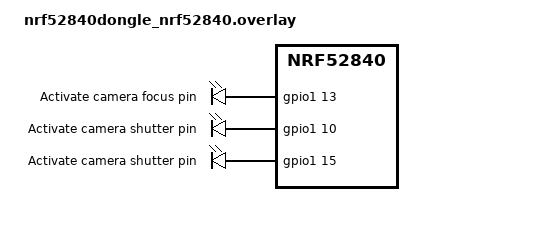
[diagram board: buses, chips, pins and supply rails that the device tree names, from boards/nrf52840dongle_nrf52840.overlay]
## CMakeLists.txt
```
#
# Copyright (c) 2018 Nordic Semiconductor
#
# SPDX-License-Identifier: LicenseRef-Nordic-5-Clause
#
cmake_minimum_required(VERSION 3.20.0)

set(PM_STATIC_YML_FILE
  ${CMAKE_CURRENT_SOURCE_DIR}/boards/pm_static_${BOARD}.yml
  )

find_package(Zephyr REQUIRED HINTS $ENV{ZEPHYR_BASE})
project(NONE)

target_include_directories(app PRIVATE include)

# NORDIC SDK APP START
target_sources(app PRIVATE
  src/main.c
  src/cam_tl_control.c
  src/flash_handler.c
)

# NORDIC SDK APP END
zephyr_library_include_directories(.)
```

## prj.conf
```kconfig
#
# Copyright (c) 2018 Nordic Semiconductor
#
# SPDX-License-Identifier: LicenseRef-Nordic-5-Clause
#
CONFIG_NCS_SAMPLES_DEFAULTS=y

CONFIG_LOG=y
CONFIG_SERIAL=y

CONFIG_BT=y
CONFIG_BT_PERIPHERAL=y
CONFIG_BT_DEVICE_NAME="CAM TL Control v3"

# Enable the LBS service
CONFIG_BT_NUS=y
CONFIG_BT_USER_DATA_LEN_UPDATE=y
CONFIG_BT_L2CAP_TX_MTU=247
CONFIG_BT_BUF_ACL_RX_SIZE=251
CONFIG_BT_GATT_CLIENT=y
CONFIG_BT_ATT_PREPARE_COUNT=2
CONFIG_BT_CONN_TX_MAX=10
CONFIG_BT_L2CAP_TX_BUF_COUNT=10
CONFIG_BT_L2CAP_TX_MTU=247
CONFIG_BT_L2CAP_DYNAMIC_CHANNEL=y
CONFIG_BT_CTLR_PHY_2M=y
CONFIG_BT_CTLR_RX_BUFFERS=2
CONFIG_BT_BUF_ACL_TX_COUNT=10
CONFIG_BT_BUF_ACL_TX_SIZE=251
CONFIG_BT_CTLR_DATA_LENGTH_MAX=251
CONFIG_DK_LIBRARY=y

CONFIG_SYSTEM_WORKQUEUE_STACK_SIZE=2048

CONFIG_NVS=y
CONFIG_SETTINGS=y
CONFIG_SETTINGS_NVS=y

CONFIG_NEWLIB_LIBC=y
CONFIG_POSIX_CLOCK=y

CONFIG_MAIN_STACK_SIZE=4096
CONFIG_IDLE_STACK_SIZE=4096

CONFIG_FLASH=y
CONFIG_FLASH_MAP=y
CONFIG_FLASH_PAGE_LAYOUT=y

CONFIG_MPU_ALLOW_FLASH_WRITE=y
```

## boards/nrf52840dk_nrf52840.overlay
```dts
/{
	cam_interface {
		compatible = "gpio-leds";
		pin_focus: pin_focus {
			gpios = <&gpio1 1 (GPIO_OPEN_DRAIN | (1 << 8))>;
			label = "Activate camera focus pin";
		};
		pin_shutter: pin_shutter {
			gpios = <&gpio1 2 (GPIO_OPEN_DRAIN | (1 << 8))>;
			label = "Activate camera shutter pin";
		};
	};
};
```

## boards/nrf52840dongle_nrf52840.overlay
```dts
/{
	cam_interface {
		compatible = "gpio-leds";
		pin_focus: pin_focus {
			gpios = <&gpio1 13 (GPIO_OPEN_DRAIN | (1 << 8))>;
			label = "Activate camera focus pin";
		};
		pin_shutter: pin_shutter {
			gpios = <&gpio1 10 (GPIO_OPEN_DRAIN | (1 << 8))>;
			label = "Activate camera shutter pin";
		};
		pin_ground: pin_ground {
			gpios = <&gpio1 15 0>;
			label = "Activate camera shutter pin";			
		};
	};
};
&pwm0_default {
	group1 {
		psels = <NRF_PSEL(PWM_OUT0, 0, 8)>,
		  <NRF_PSEL(PWM_OUT1, 1, 9)>,
		  <NRF_PSEL(PWM_OUT2, 0, 12)>;
	};
};
```

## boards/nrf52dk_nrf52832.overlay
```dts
/{
	cam_interface {
		compatible = "gpio-leds";
		pin_focus: pin_focus {
			gpios = <&gpio0 24 (GPIO_OPEN_DRAIN | (1 << 8))>;
			label = "Activate camera focus pin";
		};
		pin_shutter: pin_shutter {
			gpios = <&gpio0 25 (GPIO_OPEN_DRAIN | (1 << 8))>;
			label = "Activate camera shutter pin";
		};
	};
};
```

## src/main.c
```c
/*
 * Copyright (c) 2018 Nordic Semiconductor ASA
 *
 * SPDX-License-Identifier: LicenseRef-Nordic-5-Clause
 */

#include <zephyr/types.h>
#include <stddef.h>
#include <string.h>
#include <errno.h>
#include <zephyr/sys/printk.h>
#include <zephyr/sys/byteorder.h>
#include <zephyr/kernel.h>
#include <zephyr/drivers/gpio.h>
#include <soc.h>
#include <time.h>
#include <stdio.h>
/* clock_gettime() prototype */
#include <zephyr/posix/time.h>

#include <zephyr/bluetooth/bluetooth.h>
#include <zephyr/bluetooth/hci.h>
#include <zephyr/bluetooth/conn.h>
#include <zephyr/bluetooth/uuid.h>
#include <zephyr/bluetooth/gatt.h>

#include <bluetooth/services/nus.h>

#include <zephyr/settings/settings.h>

#include <dk_buttons_and_leds.h>

#include "cam_tl_control.h"
#include "app_settings.h"
#include "flash_handler.h"

#define DEVICE_NAME             CONFIG_BT_DEVICE_NAME
#define DEVICE_NAME_LEN         (sizeof(DEVICE_NAME) - 1)


#define RUN_STATUS_LED          DK_LED1
#define CON_STATUS_LED          DK_LED2
#define RUN_LED_BLINK_INTERVAL  500

#define USER_LED                DK_LED3

#define USER_BUTTON             DK_BTN1_MSK
#define BLE_ENABLE_BUTTON       DK_BTN2_MSK

#define UART_BUF_SIZE CONFIG_BT_NUS_UART_BUFFER_SIZE

// Until the kit is configured through the app, run at a constant interval (since accurate time is not set)
static bool m_time_set_from_app = false;
static app_settings_t app_settings = {.picture_interval_s = 10*60,
									  .downtime_pic_int_s = 0,
									  .pic_cap_start_hour = 8,
									  .pic_cap_start_min = 0,
									  .pic_cap_end_hour = 17,
									  .pic_cap_end_min = 59,
									  .wday_on_map = {true, true, true, true, true, true, true}};
static bool m_nus_notifications_enabled = false;
static bool m_settings_changed = false;

static int m_pics_taken_since_reset = 0;
static int m_pics_taken_since_last_ble_command = 0;

static struct bt_gatt_exchange_params exchange_params;

static const struct bt_data ad[] = {
	BT_DATA_BYTES(BT_DATA_FLAGS, (BT_LE_AD_GENERAL | BT_LE_AD_NO_BREDR)),
	BT_DATA(BT_DATA_NAME_COMPLETE, DEVICE_NAME, DEVICE_NAME_LEN),
};

static const struct bt_data sd[] = {
	BT_DATA_BYTES(BT_DATA_UUID128_ALL, BT_UUID_NUS_VAL),
};

struct bt_conn *m_conn = 0;

static void app_bt_start_advertising(bool enable) 
{
	int err;
	if(enable) {
		err = bt_le_adv_start(BT_LE_ADV_CONN, ad, ARRAY_SIZE(ad),
					sd, ARRAY_SIZE(sd));
		if (err) {
			printk("Advertising failed to start (err %d)\n", err);
			return;
		}
	} else {
		err = bt_le_adv_stop();
	}
}

static void exchange_func(struct bt_conn *conn, uint8_t att_err,
			  struct bt_gatt_exchange_params *params)
{
	struct bt_conn_info info = {0};
	int err;

	printk("MTU exchange %s\n", att_err == 0 ? "successful" : "failed");

	err = bt_conn_get_info(conn, &info);
	if (err) {
		printk("Failed to get connection info %d\n", err);
		return;
	}
}


static void connected(struct bt_conn *conn, uint8_t err)
{
	if (err) {
		printk("Connection failed (err %u)\n", err);
		return;
	}

	printk("Connected\n");

	dk_set_led_on(CON_STATUS_LED);

	exchange_params.func = exchange_func;

	err = bt_gatt_exchange_mtu(conn, &exchange_params);
	if (err) {
		printk("MTU exchange failed (err %d)\n", err);
	} else {
		printk("MTU exchange pending\n");
	}
	
	m_conn = conn;
}

static void disconnected(struct bt_conn *conn, uint8_t reason)
{
	printk("Disconnected (reason %u)\n", reason);

	dk_set_led_off(CON_STATUS_LED);

	m_nus_notifications_enabled = false;
}

#ifdef CONFIG_BT_LBS_SECURITY_ENABLED
static void security_changed(struct bt_conn *conn, bt_security_t level,
			     enum bt_security_err err)
{
	char addr[BT_ADDR_LE_STR_LEN];

	bt_addr_le_to_str(bt_conn_get_dst(conn), addr, sizeof(addr));

	if (!err) {
		printk("Security changed: %s level %u\n", addr, level);
	} else {
		printk("Security failed: %s level %u err %d\n", addr, level,
			err);
	}
}
#endif

static struct bt_conn_cb conn_callbacks = {
	.connected        = connected,
	.disconnected     = disconnected,
#ifdef CONFIG_BT_LBS_SECURITY_ENABLED
	.security_changed = security_changed,
#endif
};

#if defined(CONFIG_BT_LBS_SECURITY_ENABLED)
static void auth_passkey_display(struct bt_conn *conn, unsigned int passkey)
{
	char addr[BT_ADDR_LE_STR_LEN];

	bt_addr_le_to_str(bt_conn_get_dst(conn), addr, sizeof(addr));

	printk("Passkey for %s: %06u\n", addr, passkey);
}

static void auth_cancel(struct bt_conn *conn)
{
	char addr[BT_ADDR_LE_STR_LEN];

	bt_addr_le_to_str(bt_conn_get_dst(conn), addr, sizeof(addr));

	printk("Pairing cancelled: %s\n", addr);
}

static struct bt_conn_auth_cb conn_auth_callbacks = {
	.passkey_display = auth_passkey_display,
	.cancel = auth_cancel,
};
#else
static struct bt_conn_auth_cb conn_auth_callbacks;
#endif

static volatile bool take_picture_override = false;
static volatile bool ble_enabled = true;
static void button_changed(uint32_t button_state, uint32_t has_changed)
{
	if (has_changed & USER_BUTTON) {
		uint32_t user_button_state = button_state & USER_BUTTON;

		if(user_button_state) take_picture_override = true;
	}
	if ((has_changed & BLE_ENABLE_BUTTON) && (button_state & BLE_ENABLE_BUTTON)) {
		ble_enabled = !ble_enabled;
		if(ble_enabled) {
			printk("BLE Enabled\n");
		} else {
			printk("BLE Disabled\n");
		}
	}
}

static int init_button(void)
{
	int err;

	err = dk_buttons_init(button_changed);
	if (err) {
		printk("Cannot init buttons (err: %d)\n", err);
	}

	return err;
}
static int convert_ascii_int(const uint8_t *str_ptr, int num_digits)
{
	int ret_val = 0;
	int multiplier = 1;
	for(int i = 0; i < (num_digits - 1); i++) multiplier *= 10;
	for(int i = 0; i < num_digits; i++) {
		if(str_ptr[i] >= '0' && str_ptr[i] <= '9'){
			ret_val += ((str_ptr[i] - '0') * multiplier);
			multiplier /= 10;
		}
		else return 0;
	}
	return ret_val;
}

static int send_nus_response_str(char *response)
{
	if(m_nus_notifications_enabled && strlen(response) > 0) {
		bt_nus_send(m_conn, response, strlen(response));
		return 0;
	}
	return -1;
}

static volatile bool time_update_requested = false;
static volatile bool take_picture_requested = false;

typedef struct {
	uint8_t buf[24];
	uint32_t len;
} uart_message_t;
K_MSGQ_DEFINE(nus_msg_queue, sizeof(uart_message_t), 8, 4);

void on_nus_received(struct bt_conn *conn, const uint8_t *const data, uint16_t len)
{
	static uart_message_t new_message;
	if(len > 23) len = 23;
	memcpy(new_message.buf, data, len);
	new_message.buf[len] = 0;
	new_message.len = len;
	k_msgq_put(&nus_msg_queue, &new_message, K_NO_WAIT);
}

#define CHECK_CAM_CMD(a, b) (strncmp(a, msg->buf, 2) == 0 && msg->len == b)

static void process_nus_packet(uart_message_t *msg)
{
	struct tm set_time;
	static char response_msg[128];
	//printk("NUS CMD received (len %i): %s\n", len, response_msg);
	if(msg->len >= 2){
		// Set time command
		if(CHECK_CAM_CMD("st", 14)){
			set_time.tm_year = convert_ascii_int(msg->buf + 2, 2) + 100;
			set_time.tm_mon = convert_ascii_int(msg->buf + 4, 2);
			set_time.tm_mday = convert_ascii_int(msg->buf + 6, 2);
			set_time.tm_hour = convert_ascii_int(msg->buf + 8, 2);
			set_time.tm_min = convert_ascii_int(msg->buf + 10, 2);
			set_time.tm_sec = convert_ascii_int(msg->buf + 12, 2);
			time_t t = mktime(&set_time);
			struct timespec ts;
			ts.tv_sec = t;
			ts.tv_nsec = 0;
			clock_settime(CLOCK_REALTIME, &ts);
			m_time_set_from_app = true;
			sprintf(response_msg, "Time set over NUS: %s", asctime(&set_time));
		}
		// Set capture interval command
		else if(CHECK_CAM_CMD("si", 6)){
			app_settings.picture_interval_s = convert_ascii_int(msg->buf + 2, 4);
			if(app_settings.picture_interval_s < 30) app_settings.picture_interval_s = 30;
			sprintf(response_msg, "Picture interval set to %i", app_settings.picture_interval_s);
			m_settings_changed = true;
		}
		// Set downtime capture interval command
		else if(CHECK_CAM_CMD("di", 6)){
			app_settings.downtime_pic_int_s = convert_ascii_int(msg->buf + 2, 4);
			if(app_settings.downtime_pic_int_s < 30) app_settings.downtime_pic_int_s = 0;
			sprintf(response_msg, "Picture DT int set to %i", app_settings.downtime_pic_int_s);
			m_settings_changed = true;
		}
		// Set capture start time command
		else if(CHECK_CAM_CMD("cs", 6)){
			app_settings.pic_cap_start_hour = convert_ascii_int(msg->buf + 2, 2);
			app_settings.pic_cap_start_min = convert_ascii_int(msg->buf + 4, 2);
			sprintf(response_msg, "Picture start time at %i:%02i", app_settings.pic_cap_start_hour, app_settings.pic_cap_start_min);
			m_settings_changed = true;
		}
		// Set capture end time command
		else if(CHECK_CAM_CMD("ce", 6)){
			app_settings.pic_cap_end_hour = convert_ascii_int(msg->buf + 2, 2);
			app_settings.pic_cap_end_min = convert_ascii_int(msg->buf + 4, 2);
			sprintf(response_msg, "Picture end time at %i:%02i", app_settings.pic_cap_end_hour, app_settings.pic_cap_end_min);
			m_settings_changed = true;
		}
		// Set weekday map command
		else if(CHECK_CAM_CMD("wm", 9)){
			// time.h defines Sunday as the first day of the week. 
			// Change this around to make Monday the first day of the week in the config command 
			app_settings.wday_on_map[0] = (convert_ascii_int(msg->buf + 8, 1) != 0);
			for(int i = 0; i < 6; i++) {
				app_settings.wday_on_map[i + 1] = (convert_ascii_int(msg->buf + 2 + i, 1) != 0);
			}
			sprintf(response_msg, "Weekday map: %i-%i-%i-%i-%i-%i-%i", app_settings.wday_on_map[1], app_settings.wday_on_map[2], 
					app_settings.wday_on_map[3], app_settings.wday_on_map[4], app_settings.wday_on_map[5], 
					app_settings.wday_on_map[6], app_settings.wday_on_map[0]);
			m_settings_changed = true;
		}
		// Get current time command
		else if(CHECK_CAM_CMD("gt", 2)){
			static time_t t;
			static struct tm *ptr;
			
			// Check current time 
			t = time(NULL);
			ptr = localtime(&t);
			sprintf(response_msg, "Current time: %s", asctime(ptr));
		}
		// Get status command
		else if(CHECK_CAM_CMD("gs", 2)){
			sprintf(response_msg, "Picture start time at %i:%02i", app_settings.pic_cap_start_hour, app_settings.pic_cap_start_min);
			send_nus_response_str(response_msg);
			sprintf(response_msg, "Picture end time at %i:%02i", app_settings.pic_cap_end_hour, app_settings.pic_cap_end_min);
			send_nus_response_str(response_msg);
			sprintf(response_msg, "Picture interval: %i", app_settings.picture_interval_s);
			send_nus_response_str(response_msg);
			sprintf(response_msg, "Picture DT int: %i", app_settings.downtime_pic_int_s);
			send_nus_response_str(response_msg);
			sprintf(response_msg, "Weekday map: %i-%i-%i-%i-%i-%i-%i", app_settings.wday_on_map[1], app_settings.wday_on_map[2], app_settings.wday_on_map[3], 
						app_settings.wday_on_map[4], app_settings.wday_on_map[5], app_settings.wday_on_map[6], app_settings.wday_on_map[0]);
			send_nus_response_str(response_msg);
			sprintf(response_msg, "Pics since reset: %i, pics since BLE activity: %i", m_pics_taken_since_reset, m_pics_taken_since_last_ble_command);
			send_nus_response_str(response_msg);
			response_msg[0] = 0;
		}
		else if(CHECK_CAM_CMD("tp", 2)){
			take_picture_requested = true;
			sprintf(response_msg, "Picture request received");
		}
		else sprintf(response_msg, "Unknown NUS command received!");
	}
	printk("%s\n", response_msg);
	send_nus_response_str(response_msg);
	m_pics_taken_since_last_ble_command = 0;
}

void on_nus_sent(struct bt_conn *conn)
{

}

void on_nus_send_enabled(enum bt_nus_send_status status)
{
	if(status == BT_NUS_SEND_STATUS_ENABLED) m_nus_notifications_enabled = true;
	else m_nus_notifications_enabled = false;
}

struct bt_nus_cb nus_callbacks = {.received = on_nus_received, .sent = on_nus_sent, .send_enabled = on_nus_send_enabled};

static void time_debug(void)
{
	static bool first_time = true;
	static struct tm* ptr;
	struct tm start_time;
    static time_t t;
	static time_t time_at_last_pic = 0;
	struct timespec ts;

	if(first_time) {
		first_time = false;
		start_time.tm_year = 122;
		start_time.tm_mon = 0;
		start_time.tm_mday = 24;
		start_time.tm_hour = 8;
		start_time.tm_min = 12;
		start_time.tm_sec = 12;
		t = mktime(&start_time);
		ts.tv_sec = t;
		ts.tv_nsec = 0;
		clock_settime(CLOCK_REALTIME, &ts);
		printk("Time set to: %s", asctime(&start_time));
	}

	// Check current time 
	t = time(NULL);
    ptr = localtime(&t);

	// Check if this is within the active picture period
	int second_in_day_offset;
	int interval;
	int time_start_minutes = app_settings.pic_cap_start_hour * 60 + app_settings.pic_cap_start_min;
	int time_end_minutes = app_settings.pic_cap_end_hour * 60 + app_settings.pic_cap_end_min;
	int current_time_minutes = ptr->tm_hour * 60 + ptr->tm_min; 
	// If no BLE configuration occurred since reset, use a 30 second interval
	if(!m_time_set_from_app) {
		interval = 30;
	} else {
		// First check if we are within the active period
		if(current_time_minutes >= time_start_minutes && current_time_minutes <= time_end_minutes && app_settings.wday_on_map[ptr->tm_wday]) {
			interval = app_settings.picture_interval_s;
		// If we are not within the active period and the downtime interval is 0, no pictures will be taken
		} else if(app_settings.downtime_pic_int_s == 0) {
			return;
		// Otherwise use the downtime interval
		} else {
			interval = app_settings.downtime_pic_int_s;
		}
		// In order to make picture capture happen on natural time boundaries, use the modulo operator
		second_in_day_offset = ptr->tm_hour * 3600 + ptr->tm_min * 60 + ptr->tm_sec;
		if((second_in_day_offset % interval) == 0) {
			time_at_last_pic = t;
			printk("Taking picture at time %s\n", asctime(ptr));
			cam_tl_control_take_picture();
			m_pics_taken_since_reset++;
			m_pics_taken_since_last_ble_command++;
		}
	}
}

static bool bt_is_enabled = false;
void bt_ready(int error)
{
	if (error == 0) bt_is_enabled = true;
}

void main(void)
{
	int err;

	printk("Starting Camera timelapse control example\n");

	cam_tl_control_init();

	err = dk_leds_init();
	if (err) {
		printk("LEDs init failed (err %d)\n", err);
		return;
	}

	err = init_button();
	if (err) {
		printk("Button init failed (err %d)\n", err);
		return;
	}

	bt_conn_cb_register(&conn_callbacks);
	if (IS_ENABLED(CONFIG_BT_LBS_SECURITY_ENABLED)) {
		bt_conn_auth_cb_register(&conn_auth_callbacks);
	}

	err = flash_handler_init();
	if (err) {
		printk("Error initializing flash\n");
	}

	err = flash_handler_read(&app_settings);
	if (err) {
		printk("No settings found in flash. Using default values\n");
	}
	else {
		printk("Settings loaded from flash!");
	}

	err = flash_handler_write(&app_settings);
	if (err) {
		printk("ERROR writing flash\n");
	}

	err = bt_enable(NULL);
	if (err) {
		printk("Bluetooth init failed (err %d)\n", err);
		return;
	}

	if (IS_ENABLED(CONFIG_SETTINGS)) {
		settings_load();
	}

	printk("Bluetooth initialized\n");

	err = bt_nus_init(&nus_callbacks);
	if (err) {
		printk("Failed to init NUS (err:%d)\n", err);
		return;
	}

	app_bt_start_advertising(true);

	printk("Advertising successfully started\n");
	static char printbuf[128];
	static time_t t;
	static struct tm *ptr;
	uint32_t time_debug_counter = 0;
	for (;;) {
		dk_set_led(RUN_STATUS_LED, 1);
		k_msleep(10);
		dk_set_led(RUN_STATUS_LED, 0);
		k_sleep(K_MSEC(RUN_LED_BLINK_INTERVAL - 10));

		// If the user button is pressed, take a picture
		if(take_picture_requested) {
			take_picture_requested = false;
			printk("Triggering picture manually\n");
			cam_tl_control_take_picture();
			m_pics_taken_since_reset++;
			m_pics_taken_since_last_ble_command++;
		}

		if(time_update_requested) {
			time_update_requested = false;
	
			// Check current time 
			t = time(NULL);
			ptr = localtime(&t);
			sprintf(printbuf, "Current time: %s", asctime(ptr));
			printk("Current time requested: %s\n", asctime(ptr));
			send_nus_response_str(printbuf);
		}

		if(m_settings_changed) {
			m_settings_changed = false;
			app_settings.last_updated_time = time(NULL);
			err = flash_handler_write(&app_settings);
			if (err) {
				printk("Flash write error (err %i)\n", err);
			}
		}

		if(time_debug_counter > 1000) {
			time_debug();
			time_debug_counter -= 1000;
		}
		time_debug_counter += RUN_LED_BLINK_INTERVAL;
		
		static uart_message_t new_msg;
		if(k_msgq_get(&nus_msg_queue, &new_msg, K_NO_WAIT) == 0) {
			process_nus_packet(&new_msg);
		}
	}
}
```

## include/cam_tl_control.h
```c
#ifndef __CAM_TL_CONTROL_H
#define __CAM_TL_CONTROL_H

#include <zephyr/kernel.h>
#include <zephyr/types.h>

typedef struct {
} cam_tl_control_config_t;

int cam_tl_control_init(void);

void cam_tl_control_take_picture(void);

#endif
```

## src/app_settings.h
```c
#ifndef __APP_SETTINGS_H
#define __APP_SETTINGS_H

#include <zephyr/kernel.h>
#include <time.h>

typedef struct {
    int picture_interval_s;
    int downtime_pic_int_s;
    int pic_cap_start_hour;
    int pic_cap_start_min;
    int pic_cap_end_hour;
    int pic_cap_end_min;
    bool wday_on_map[7];
    time_t last_updated_time;
    // Magic number for the flash library
    uint32_t _magic_number;
} app_settings_t;

#endif
```

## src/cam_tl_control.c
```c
#include "cam_tl_control.h"
#include "nrf.h"
#include <zephyr/drivers/gpio.h>

#define TIME_FOCUS_MS 700
#define TIME_SHUTTER_MS 100

struct gpio_dt_spec pin_focus = GPIO_DT_SPEC_GET(DT_NODELABEL(pin_focus), gpios);
struct gpio_dt_spec pin_shutter = GPIO_DT_SPEC_GET(DT_NODELABEL(pin_shutter), gpios);
#if (DT_NODE_EXISTS(DT_NODELABEL(pin_ground)))
struct gpio_dt_spec pin_ground = GPIO_DT_SPEC_GET(DT_NODELABEL(pin_ground), gpios);
#endif

int cam_tl_control_init()
{
	int ret;

	if(!device_is_ready(pin_focus.port)) {
		return -ENXIO;
	}

	if(!device_is_ready(pin_shutter.port)) {
		return -ENXIO;
	}

	ret = gpio_pin_configure_dt(&pin_focus, GPIO_OUTPUT);
	if (ret) {
		return ret;
	}

	ret = gpio_pin_configure_dt(&pin_shutter, GPIO_OUTPUT);
	if (ret) {
		return ret;
	}

	gpio_pin_set_dt(&pin_focus, 1);
	gpio_pin_set_dt(&pin_shutter, 1);

#if (DT_NODE_EXISTS(DT_NODELABEL(pin_ground)))
	ret = gpio_pin_configure_dt(&pin_ground, GPIO_OUTPUT);
	if (ret) {
		return ret;
	}
	gpio_pin_set_dt(&pin_ground, 0);
#endif

	return 0;
}

void cam_tl_control_take_picture(void)
{
	gpio_pin_set_dt(&pin_focus, 0);
	k_msleep(TIME_FOCUS_MS);
	gpio_pin_set_dt(&pin_shutter, 0);
	k_msleep(TIME_SHUTTER_MS);
	gpio_pin_set_dt(&pin_focus, 1);
	gpio_pin_set_dt(&pin_shutter, 1);
}
```

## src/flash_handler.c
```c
#include "flash_handler.h"

#include <stdio.h>

#include <zephyr/device.h>
//#include <zephyr/fs/fs.h>
//#include <zephyr/logging/log.h>
#include <zephyr/fs/nvs.h>
#include <zephyr/drivers/flash.h>
#include <zephyr/storage/flash_map.h>
#include <zephyr/settings/settings.h>

//LOG_MODULE_REGISTER(flash_handler);

#define NVS_PARTITION		storage_partition
#define NVS_PARTITION_DEVICE	FIXED_PARTITION_DEVICE(NVS_PARTITION)
#define NVS_PARTITION_OFFSET	FIXED_PARTITION_OFFSET(NVS_PARTITION)

static struct nvs_fs nvs_fs;

int flash_handler_init(void)
{
	int err;
	struct flash_pages_info info;

	/* define the nvs file system by settings with:
	 *	sector_size equal to the pagesize,
	 *	3 sectors
	 *	starting at NVS_PARTITION_OFFSET
	 */
	nvs_fs.flash_device = NVS_PARTITION_DEVICE;
	if (!device_is_ready(nvs_fs.flash_device)) {
		printk("Flash device %s is not ready\n", nvs_fs.flash_device->name);
		return -ENFILE;
	}
	nvs_fs.offset = NVS_PARTITION_OFFSET;
	err = flash_get_page_info_by_offs(nvs_fs.flash_device, nvs_fs.offset, &info);
	if (err) {
		printk("Unable to get page info\n");
		return -ENFILE;
	}
	nvs_fs.sector_size = info.size;
	nvs_fs.sector_count = 3U;

    err = nvs_mount(&nvs_fs);
	if (err) {
		printk("Flash Init failed\n");
		return -ENFILE;
	}

    return 0;
}

int flash_handler_read(app_settings_t *settings)
{
    static app_settings_t local_settings;

    ssize_t read_size = nvs_read(&nvs_fs, 26, &local_settings, sizeof(app_settings_t));
    if (read_size != sizeof(app_settings_t)) {
        return -ENFILE;
    }

	if (local_settings._magic_number != MAGIC_NUMBER) {
		return -EINVAL;
	}

    // If all the operations were successful, copy the read settings into the out pointer
    *settings = local_settings;
    return 0;
}

int flash_handler_write(app_settings_t *settings)
{
	settings->_magic_number = MAGIC_NUMBER;
    ssize_t written_size = nvs_write(&nvs_fs, 26, settings, sizeof(app_settings_t));
    if (written_size == 0) {
        // Identical settings, nothing written to flash
        return 0;
    } else if (written_size != sizeof(app_settings_t)) {
        return -ENFILE;
    }

    return 0;
}
```

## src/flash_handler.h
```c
#ifndef __FLASH_HANDLER_H
#define __FLASH_HANDLER_H

#include <zephyr/kernel.h>
#include "app_settings.h"

#define MAGIC_NUMBER 0xA1A2A3A4

int flash_handler_init(void);

int flash_handler_read(app_settings_t *settings);

int flash_handler_write(app_settings_t *settings);

int flash_handler_erase(void);

#endif
```
